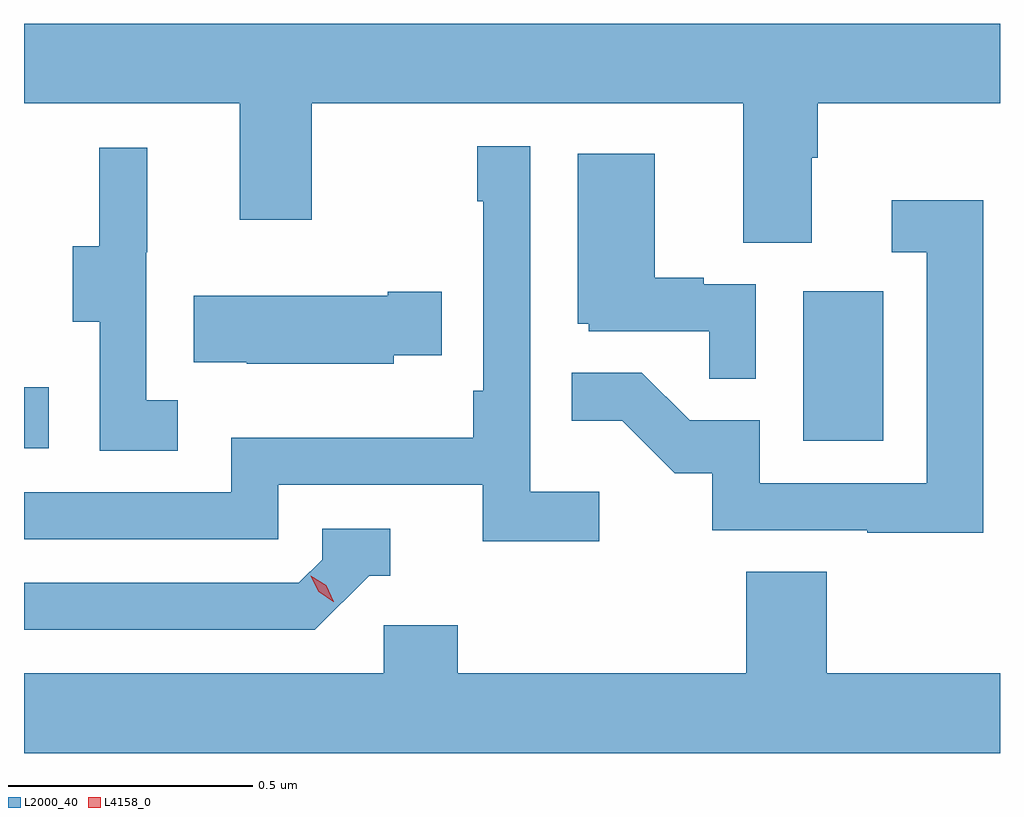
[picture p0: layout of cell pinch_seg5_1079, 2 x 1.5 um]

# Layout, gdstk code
import gdstk
lib = gdstk.Library(unit=1e-6, precision=1e-09)
def R(c, l, rs):  # rectangles x0, y0, x1, y1
    for r in rs: c.add(gdstk.rectangle(r[:2], r[2:], *l))
def P(c, l, *ps):  # polygons
    for p in ps: c.add(gdstk.Polygon(p, *l))
L2000_40 = (2000, 40)
L4158_0 = (4158, 0)

pinch_seg5_1079 = lib.new_cell('pinch_seg5_1079')
R(pinch_seg5_1079, L2000_40, [(827.767,856.053,827.818,856.178), (829.364,856.068,829.528,856.375)])
P(pinch_seg5_1079, L2000_40, [(827.767,856.76),(828.209,856.76),(828.209,856.521),(828.357,856.521),(828.357,856.76),(829.241,856.76),(829.241,856.474),(829.381,856.474),(829.381,856.648),(829.394,856.648),(829.394,856.76),(829.767,856.76),(829.767,856.923),(827.767,856.923)],
  [(828.946,855.964),(828.804,855.964),(828.804,856.672),(828.696,856.672),(828.696,856.559),(828.708,856.559),(828.708,856.171),(828.688,856.171),(828.688,856.075),(828.192,856.075),(828.192,855.963),(827.767,855.963),(827.767,855.867),(828.288,855.867),(828.288,855.978),(828.707,855.978),(828.707,855.862),(828.946,855.862)],
  [(828.082,856.151),(828.018,856.151),(828.018,856.455),(828.02,856.455),(828.02,856.669),(827.921,856.669),(827.921,856.467),(827.867,856.467),(827.867,856.312),(827.922,856.312),(827.922,856.048),(828.082,856.048)],
  [(829.266,856.389),(829.16,856.389),(829.16,856.402),(829.06,856.402),(829.06,856.657),(828.902,856.657),(828.902,856.308),(828.924,856.308),(828.924,856.293),(829.171,856.293),(829.171,856.195),(829.266,856.195)],
  [(829.733,856.561),(829.545,856.561),(829.545,856.455),(829.617,856.455),(829.617,855.981),(829.275,855.981),(829.275,856.11),(829.131,856.11),(829.033,856.208),(828.889,856.208),(828.889,856.109),(828.993,856.109),(829.1,856.002),(829.177,856.002),(829.177,855.885),(829.495,855.885),(829.495,855.88),(829.733,855.88)],
  [(828.525,856.244),(828.623,856.244),(828.623,856.374),(828.512,856.374),(828.512,856.366),(828.115,856.366),(828.115,856.229),(828.223,856.229),(828.223,856.226),(828.525,856.226)],
  [(828.474,855.792),(828.517,855.792),(828.517,855.888),(828.378,855.888),(828.378,855.825),(828.33,855.777),(827.767,855.777),(827.767,855.681),(828.363,855.681)],
  [(829.767,855.592),(829.412,855.592),(829.412,855.8),(829.247,855.8),(829.247,855.592),(828.656,855.592),(828.656,855.69),(828.504,855.69),(828.504,855.592),(827.767,855.592),(827.767,855.428),(829.767,855.428)])
P(pinch_seg5_1079, L4158_0, [(828.401,855.739),(828.371,855.759),(828.355,855.791),(828.355,855.792),(828.355,855.792),(828.386,855.772),(828.402,855.739),(828.402,855.739)])

lib.write_gds('pinch_seg5_1079.gds')
